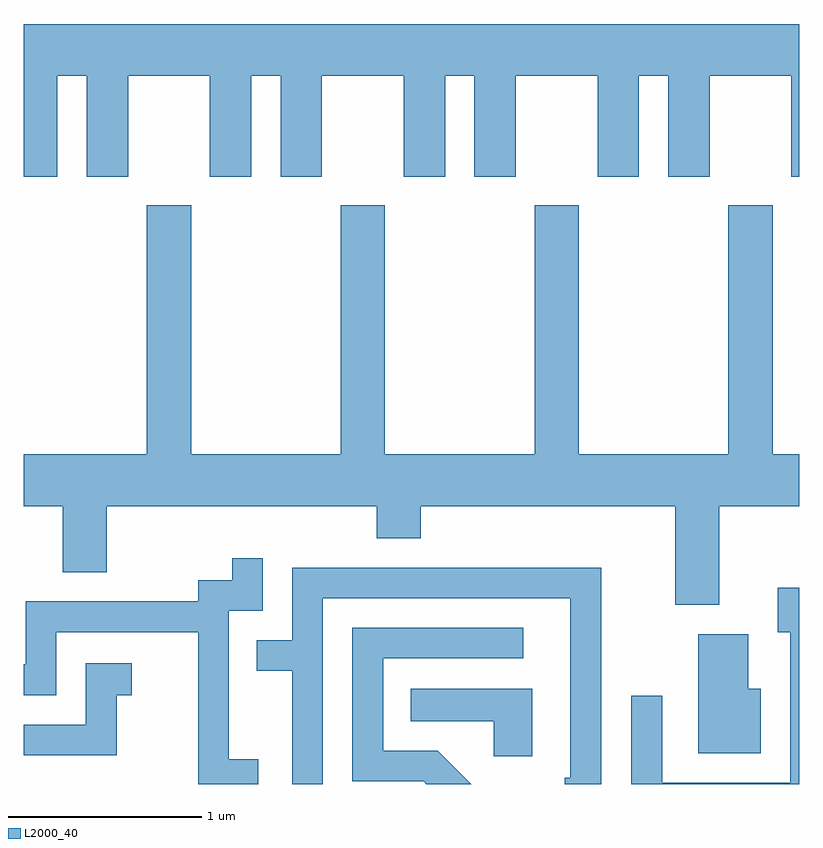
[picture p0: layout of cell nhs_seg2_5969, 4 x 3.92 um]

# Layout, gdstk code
import gdstk
lib = gdstk.Library(unit=1e-6, precision=1e-09)
def P(c, l, *ps):  # polygons
    for p in ps: c.add(gdstk.Polygon(p, *l))
L2000_40 = (2000, 40)

nhs_seg2_5969 = lib.new_cell('nhs_seg2_5969')
P(nhs_seg2_5969, L2000_40, [(361.784,1019.456),(361.936,1019.456),(361.936,1018.936),(362.149,1018.936),(362.149,1019.456),(362.571,1019.456),(362.571,1018.936),(362.784,1018.936),(362.784,1019.456),(362.936,1019.456),(362.936,1018.936),(363.149,1018.936),(363.149,1019.456),(363.571,1019.456),(363.571,1018.936),(363.784,1018.936),(363.784,1019.456),(363.936,1019.456),(363.936,1018.936),(364.149,1018.936),(364.149,1019.456),(364.571,1019.456),(364.571,1018.936),(364.784,1018.936),(364.784,1019.456),(364.936,1019.456),(364.936,1018.936),(365.149,1018.936),(365.149,1019.456),(365.571,1019.456),(365.571,1018.936),(365.611,1018.936),(365.611,1019.724),(361.611,1019.724),(361.611,1018.936),(361.784,1018.936)],
  [(365.199,1017.236),(365.611,1017.236),(365.611,1017.504),(365.474,1017.504),(365.474,1018.789),(365.246,1018.789),(365.246,1017.504),(364.474,1017.504),(364.474,1018.789),(364.246,1018.789),(364.246,1017.504),(363.474,1017.504),(363.474,1018.789),(363.246,1018.789),(363.246,1017.504),(362.474,1017.504),(362.474,1018.789),(362.246,1018.789),(362.246,1017.504),(361.611,1017.504),(361.611,1017.236),(361.811,1017.236),(361.811,1016.896),(362.039,1016.896),(362.039,1017.236),(363.431,1017.236),(363.431,1017.071),(363.659,1017.071),(363.659,1017.236),(364.971,1017.236),(364.971,1016.726),(365.199,1016.726)],
  [(362.819,1015.929),(362.669,1015.929),(362.669,1016.696),(362.844,1016.696),(362.844,1016.968),(362.686,1016.968),(362.686,1016.854),(362.511,1016.854),(362.511,1016.744),(361.621,1016.744),(361.621,1016.419),(361.611,1016.419),(361.611,1016.261),(361.779,1016.261),(361.779,1016.586),(362.511,1016.586),(362.511,1015.802),(362.819,1015.802)],
  [(363.154,1016.761),(364.431,1016.761),(364.431,1015.834),(364.401,1015.834),(364.401,1015.802),(364.589,1015.802),(364.589,1016.919),(362.996,1016.919),(362.996,1016.544),(362.813,1016.544),(362.813,1016.386),(362.996,1016.386),(362.996,1015.802),(363.154,1015.802)],
  [(365.611,1016.814),(365.501,1016.814),(365.501,1016.586),(365.566,1016.586),(365.566,1015.809),(364.904,1015.809),(364.904,1016.258),(364.746,1016.258),(364.746,1015.802),(365.611,1015.802)],
  [(363.747,1015.974),(363.464,1015.974),(363.464,1016.451),(364.188,1016.451),(364.188,1016.609),(363.306,1016.609),(363.306,1015.816),(363.674,1015.816),(363.688,1015.802),(363.919,1015.802)],
  [(365.414,1016.294),(365.349,1016.294),(365.349,1016.574),(365.091,1016.574),(365.091,1015.961),(365.414,1015.961)],
  [(362.089,1016.261),(362.168,1016.261),(362.168,1016.424),(361.931,1016.424),(361.931,1016.109),(361.611,1016.109),(361.611,1015.951),(362.089,1015.951)],
  [(364.234,1016.294),(363.608,1016.294),(363.608,1016.126),(364.036,1016.126),(364.036,1015.946),(364.234,1015.946)])

lib.write_gds('nhs_seg2_5969.gds')
